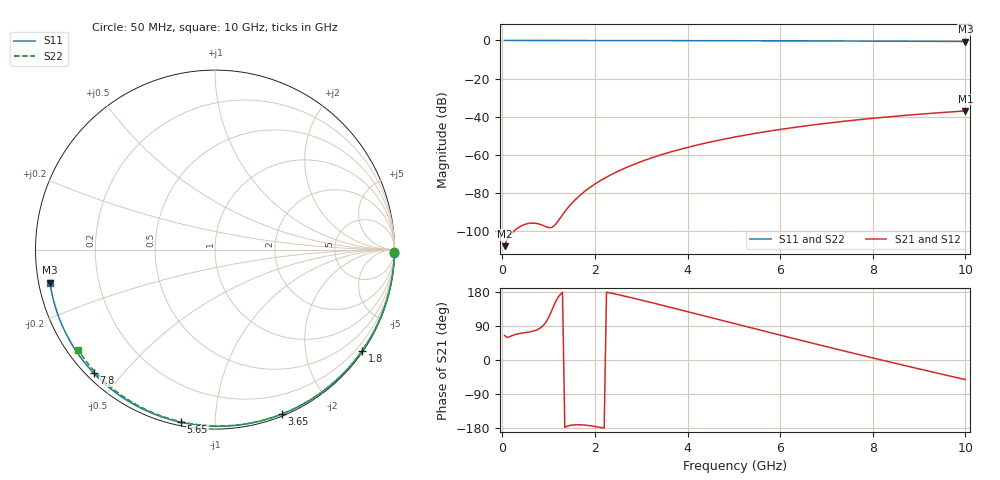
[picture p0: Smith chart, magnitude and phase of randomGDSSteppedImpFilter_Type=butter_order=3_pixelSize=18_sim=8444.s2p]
! freq	dB(S11)	phase(S11)	dB(S12)	phase(S12)
!  dB(S21)	phase(S21)	dB(S22)	phase(S22)
!S-par simulation data
#  GHz  S  DB  R 50
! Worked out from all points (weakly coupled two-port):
!   200 points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, 50 MHz to 10 GHz, reference 50 ohm
!   highest |S21| = -36.91 dB at 10 GHz (marker M1); lowest = -107.8 dB at 50 MHz (marker M2)
!   lowest |S11| = -0.6 dB at 10 GHz (marker M3), VSWR 31.19, Z = 1.62 - j4.97 ohm
!   |S11| at or under -10 dB: nowhere
!   |S22| runs from -0.5 to 0.0 dB; largest |S21 - S12| = 0
!   S11 on the Smith chart (normalised r, x): 50 MHz: open; 1.8 GHz: 0.03, -3.22; 3.65 GHz: 0.02, -1.49; 5.65 GHz: 0.02, -0.82; 7.8 GHz: 0.02, -0.42; 10 GHz: 0.03, -0.10
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0.05  -0.00 -1.0  -107.76 64.7  -107.76 64.7  -0.00 -0.8
0.45  -0.01 -8.8  -96.70 71.4  -96.70 71.4  -0.01 -7.5
0.85  -0.02 -16.5  -96.61 87.2  -96.61 87.2  -0.02 -14.1
1.25  -0.03 -24.1  -93.05 172.6  -93.05 172.6  -0.03 -20.6
1.7  -0.04 -32.6  -80.64 -171.0  -80.64 -171.0  -0.04 -27.9
1.75  -0.04 -33.6  -79.63 -171.4  -79.63 -171.4  -0.04 -28.7
1.8  -0.04 -34.5  -78.66 -172.0  -78.66 -172.0  -0.04 -29.5
2.1  -0.05 -40.1  -73.68 -177.5  -73.68 -177.5  -0.04 -34.3
2.3  -0.06 -43.8  -70.93 177.8  -70.93 177.8  -0.05 -37.5
2.5  -0.06 -47.4  -68.50 172.5  -68.50 172.5  -0.05 -40.7
2.9  -0.07 -54.7  -64.35 161.1  -64.35 161.1  -0.06 -46.9
3.4  -0.08 -63.5  -60.13 146.1  -60.13 146.1  -0.07 -54.6
3.65  -0.09 -67.9  -58.31 138.4  -58.31 138.4  -0.08 -58.4
4.35  -0.11 -79.8  -53.96 116.7  -53.96 116.7  -0.10 -68.7
5.05  -0.14 -91.4  -50.45 94.9  -50.45 94.9  -0.12 -78.8
5.65  -0.17 -101.1  -47.92 76.3  -47.92 76.3  -0.15 -87.2
6.15  -0.20 -109.0  -46.08 61.0  -46.08 61.0  -0.17 -94.1
6.7  -0.23 -117.5  -44.28 44.3  -44.28 44.3  -0.20 -101.4
7.8  -0.31 -134.4  -41.25 11.4  -41.25 11.4  -0.27 -115.8
8.35  -0.37 -142.8  -39.98 -4.8  -39.98 -4.8  -0.31 -122.8
9.2  -0.46 -155.9  -38.27 -29.2  -38.27 -29.2  -0.40 -133.5
10  -0.56 -168.6  -36.91 -51.6  -36.91 -51.6  -0.49 -143.6
